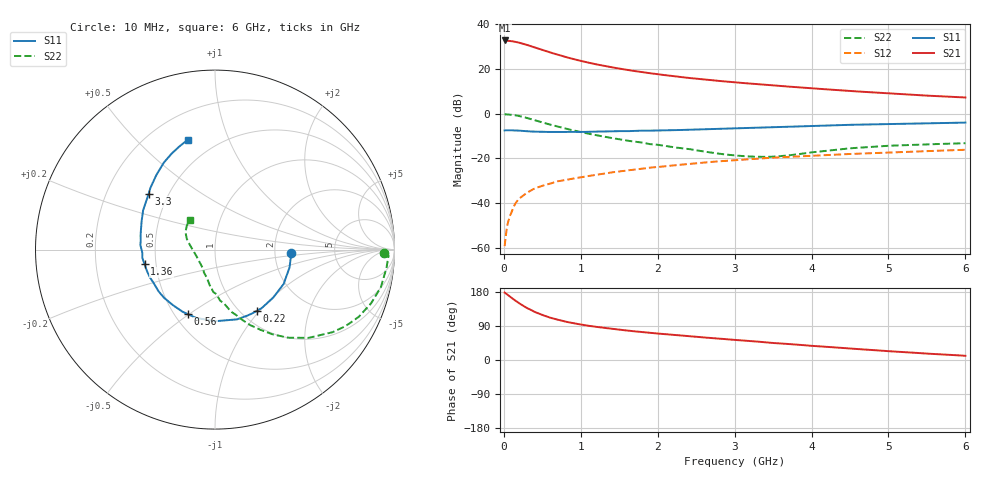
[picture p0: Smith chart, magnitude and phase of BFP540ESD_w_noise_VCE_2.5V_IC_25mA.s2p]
! Infineon Technologies  Discrete & RF Semiconductors
! BFP540ESD
! VCE =  2.5 V,  IC =  25 mA
! Common Emitter S-Parameters:  Nov 2015
# GHz  S  MA  R  50
!  f  S11  S21  S12  S22
! GHz  MAG  ANG  MAG  ANG  MAG  ANG  MAG  ANG
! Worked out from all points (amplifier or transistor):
!   210 points, 10 MHz to 6 GHz, reference 50 ohm
!   highest |S21| = 32.7 dB at 10 MHz (marker M1)
!   |S21| within 3 dB of that: start of sweep to 390.2 MHz
!   unconditionally stable (mu >= 1): 1.975 GHz to end of sweep
!   at 185 MHz: K = 0.23, MSG = 35.1 dB, |S12| = -38.5 dB
!   at 1.52 GHz: K = 0.92, MSG = 22.8 dB, |S12| = -25.7 dB
!   at 6 GHz: K = 1.11, MAG = 9.6 dB, |S12| = -16.1 dB
!   lowest NFmin = 1.29 dB at 900 MHz
!   S11 on the Smith chart (normalised r, x): 10 MHz: 2.45, -0.10; 220 MHz: 1.18, -0.97; 560 MHz: 0.58, -0.50; 1.36 GHz: 0.43, -0.08; 3.3 GHz: 0.39, +0.31; 6 GHz: 0.35, +0.72
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0.01  0.4214 -2.2  42.93 177.8  0.0011 104.8  0.9431 -1.2
0.05  0.427 -13.4  42.37 171.8  0.0035 85.2  0.9608 -6.1
0.1  0.4277 -26.6  41.55 164.1  0.0063 84.3  0.9475 -12.8
0.15  0.4204 -39.5  40.13 156.6  0.0099 77.9  0.9196 -19.0
0.2  0.4171 -51.5  38.3 149.6  0.0127 75.9  0.8845 -25.0
0.22  0.4133 -55.6  37.42 147.1  0.0135 73.8  0.8675 -27.1
0.3  0.4076 -72.5  34.18 137.2  0.0171 70.9  0.8004 -35.1
0.4  0.3991 -90.1  30.03 127.0  0.0213 66.3  0.7159 -43.4
0.5  0.395 -105.4  26.45 118.6  0.0246 63.4  0.6368 -50.4
0.56  0.3901 -112.7  24.46 114.7  0.0262 62.5  0.5957 -53.6
0.6  0.3904 -117.6  23.21 111.8  0.0273 61.9  0.5695 -55.9
0.7  0.3883 -127.4  20.66 106.3  0.0308 61.1  0.5132 -60.5
0.8  0.3906 -136.7  18.39 101.3  0.033 60.4  0.4633 -65.1
1.02  0.3896 -151.7  14.75 93.0  0.0383 59.3  0.3803 -72.4
1.36  0.4009 -168.2  11.17 83.4  0.0476 57.7  0.2937 -82.5
1.7  0.4121 179.0  8.914 75.6  0.0563 56.1  0.2373 -92.0
2.02  0.4217 169.6  7.485 69.5  0.0647 54.2  0.1992 -98.6
3.1  0.4701 144.2  4.835 51.6  0.0936 46.3  0.1131 -136.1
3.3  0.4828 140.1  4.536 48.5  0.0988 44.4  0.1088 -148.0
4.1  0.5352 126.4  3.572 36.1  0.1167 37.2  0.142 169.7
5.1  0.5916 113.0  2.77 22.1  0.1374 28.1  0.1941 147.1
6  0.6301 104.0  2.29 11.1  0.1559 21.1  0.2189 130.2
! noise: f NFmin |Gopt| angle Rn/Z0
0.9  1.29  0.34  -137  0.12
1.8  1.44  0.36  -143  0.12
2.4  1.47  0.37  -133  0.13
3  1.58  0.39  -128  0.15
4  1.65  0.49  -105  0.26
5  1.76  0.57  -87  0.4
6  2.09  0.56  -87  0.63
